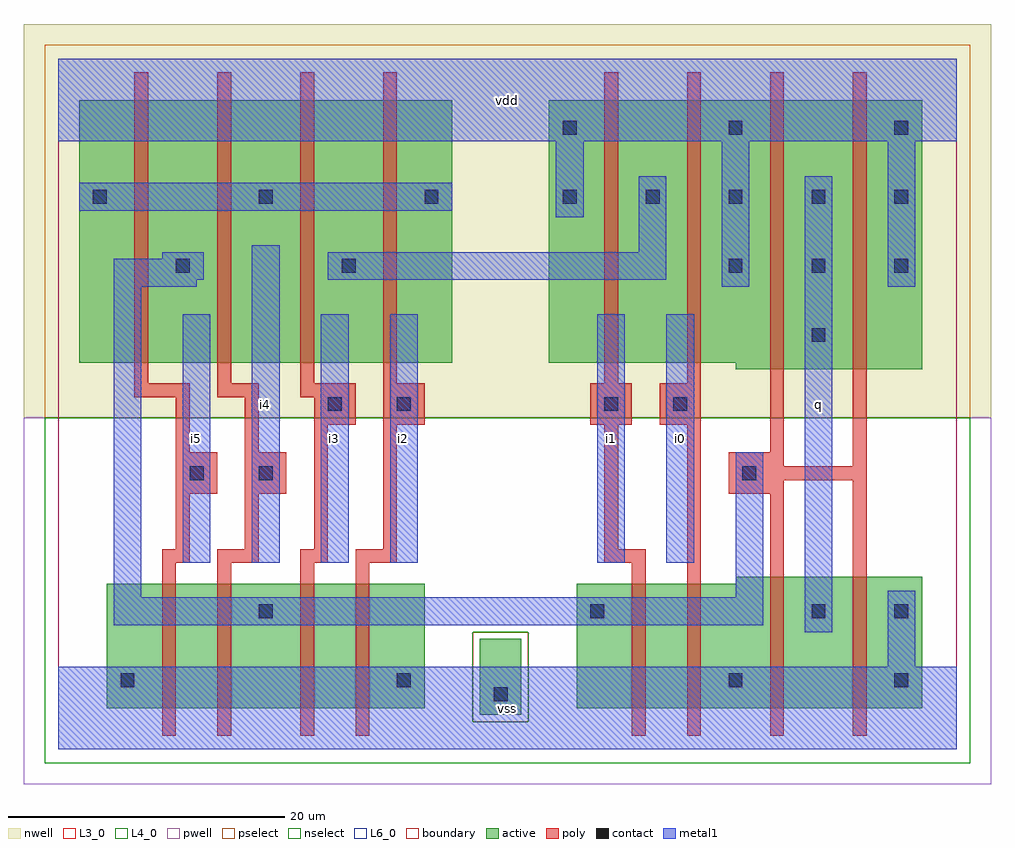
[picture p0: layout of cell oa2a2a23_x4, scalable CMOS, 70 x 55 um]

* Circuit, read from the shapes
.subckt oa2a2a23_x4 i0 i1 i2 i3 i4 i5 q vdd vss
M1 n1 i5 vss vss nfet w=9u l=1u
M2 n2 i4 n1 vss nfet w=9u l=1u
M3 n3 i3 n2 vss nfet w=9u l=1u
M4 vss i2 n3 vss nfet w=9u l=1u
M5 n4 i1 n2 vss nfet w=9u l=1u
M6 vss i0 n4 vss nfet w=9u l=1u
M7 q n2 vss vss nfet w=9.5u l=1u m=2
M8 n2 i5 n5 n6 pfet w=19u l=1u
M9 n5 i4 n2 n6 pfet w=19u l=1u
M10 n7 i3 n5 n6 pfet w=19u l=1u
M11 n5 i2 n7 n6 pfet w=19u l=1u
M12 n7 i1 vdd n6 pfet w=19u l=1u
M13 vdd i0 n7 n6 pfet w=19u l=1u
M14 q n2 vdd n6 pfet w=19.5u l=1u m=2
.ends

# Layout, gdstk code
import gdstk
lib = gdstk.Library(unit=1e-6, precision=1e-09)
def R(c, l, rs):  # rectangles x0, y0, x1, y1
    for r in rs: c.add(gdstk.rectangle(r[:2], r[2:], *l))
def A(c, l, x, y, w, h, nx, ny, dx, dy):  # array of equal rectangles
    R(c, l, [(x+i*dx, y+j*dy, x+i*dx+w, y+j*dy+h) for i in range(nx) for j in range(ny)])
L3_0 = (3, 0)
L4_0 = (4, 0)
L6_0 = (6, 0)
contact = (25, 0)
pwell = (41, 0)
nwell = (42, 0)
active = (43, 0)
pselect = (44, 0)
nselect = (45, 0)
poly = (46, 0)
metal1 = (49, 0)
boundary = (63, 0)

oa2a2a23_x4 = lib.new_cell('oa2a2a23_x4')
R(oa2a2a23_x4, L3_0, [(3.5,3,26.5,12), (37.5,3,62.5,12), (49,12,62.5,12.5)])
R(oa2a2a23_x4, L4_0, [(49,27.5,62.5,28), (1.5,28,28.5,47), (35.5,28,62.5,47)])
R(oa2a2a23_x4, L6_0, [(30.5,2.5,33.5,8)])
A(oa2a2a23_x4, contact, 48.5, 34.5, 1, 1, 3, 1, 6, 0)
A(oa2a2a23_x4, contact, 2.5, 39.5, 1, 1, 3, 1, 12, 0)
A(oa2a2a23_x4, contact, 36.5, 39.5, 1, 1, 5, 1, 6, 0)
A(oa2a2a23_x4, contact, 36.5, 44.5, 1, 1, 3, 1, 12, 0)
R(oa2a2a23_x4, contact, [(31.5,3.5,32.5,4.5), (4.5,4.5,5.5,5.5), (24.5,4.5,25.5,5.5), (48.5,4.5,49.5,5.5), (60.5,4.5,61.5,5.5), (14.5,9.5,15.5,10.5), (38.5,9.5,39.5,10.5), (54.5,9.5,55.5,10.5), (60.5,9.5,61.5,10.5), (9.5,19.5,10.5,20.5), (14.5,19.5,15.5,20.5), (49.5,19.5,50.5,20.5), (19.5,24.5,20.5,25.5), (24.5,24.5,25.5,25.5), (39.5,24.5,40.5,25.5), (44.5,24.5,45.5,25.5), (54.5,29.5,55.5,30.5), (8.5,34.5,9.5,35.5), (20.5,34.5,21.5,35.5)])
R(oa2a2a23_x4, pwell, [(-2.5,-2.5,67.5,24)])
R(oa2a2a23_x4, nwell, [(-2.5,24,67.5,52.5)])
R(oa2a2a23_x4, active, [(30.5,2.5,33.5,8), (3.5,3,26.5,12), (37.5,3,62.5,12), (49,12,62.5,12.5), (49,27.5,62.5,28), (1.5,28,28.5,47), (35.5,28,62.5,47)])
R(oa2a2a23_x4, pselect, [(30,2,34,8.5), (-1,24,66,51)])
R(oa2a2a23_x4, nselect, [(-1,-1,66,2), (-1,2,30,8.5), (34,2,66,8.5), (-1,8.5,66,24)])
A(oa2a2a23_x4, poly, 5.5, 26.5, 1, 22.5, 4, 1, 6, 0)
R(oa2a2a23_x4, poly, [(7.5,1,8.5,13.5), (11.5,1,12.5,13.5), (17.5,1,18.5,13.5), (21.5,1,22.5,13.5), (41.5,1,42.5,13.5), (45.5,1,46.5,23.5), (51.5,1,52.5,18.5), (57.5,1,58.5,19.5), (7.5,13.5,9.5,14.5), (11.5,13.5,14.5,14.5), (17.5,13.5,19.5,14.5), (21.5,13.5,24.5,14.5), (39.5,13.5,42.5,14.5), (8.5,14.5,9.5,18.5), (13.5,14.5,14.5,18.5), (18.5,14.5,19.5,23.5), (23.5,14.5,24.5,23.5), (39.5,14.5,40.5,23.5), (8.5,18.5,11.5,21.5), (13.5,18.5,16.5,21.5), (48.5,18.5,52.5,19.5), (48.5,19.5,58.5,20.5), (48.5,20.5,52.5,21.5), (57.5,20.5,58.5,49), (8.5,21.5,9.5,25.5), (13.5,21.5,14.5,25.5), (51.5,21.5,52.5,49), (18.5,23.5,21.5,25.5), (23.5,23.5,26.5,26.5), (38.5,23.5,41.5,26.5), (43.5,23.5,46.5,26.5), (5.5,25.5,9.5,26.5), (11.5,25.5,14.5,26.5), (17.5,25.5,21.5,26.5), (39.5,26.5,40.5,49), (45.5,26.5,46.5,49)])
R(oa2a2a23_x4, metal1, [(0,0,65,6), (0,0,65,6), (60,6,62,11.5), (60,6,62,11.5), (54,8.5,56,41.5), (54,8.5,56,41.5), (4,9,51,11), (4,9,51,11), (4,11,6,33.5), (4,11,6,33.5), (49,11,51,21.5), (49,11,51,21.5), (9,13.5,11,31.5), (9,13.5,11,31.5), (14,13.5,16,36.5), (14,13.5,16,36.5), (19,13.5,21,31.5), (19,13.5,21,31.5), (24,13.5,26,31.5), (24,13.5,26,31.5), (39,13.5,41,31.5), (39,13.5,41,31.5), (44,13.5,46,31.5), (44,13.5,46,31.5), (4,33.5,10,34), (4,33.5,10,34), (48,33.5,50,44), (48,33.5,50,44), (60,33.5,62,44), (60,33.5,62,44), (4,34,10.5,35.5), (4,34,10.5,35.5), (19.5,34,44,36), (19.5,34,44,36), (7.5,35.5,10.5,36), (7.5,35.5,10.5,36), (42,36,44,41.5), (42,36,44,41.5), (36,38.5,38,44), (36,38.5,38,44), (1.5,39,28.5,41), (1.5,39,28.5,41), (0,44,65,50), (0,44,65,50)])
R(oa2a2a23_x4, boundary, [(0,0,65,50)])
oa2a2a23_x4.add(gdstk.Label('i5', (10,22.5), layer=49, texttype=0))
oa2a2a23_x4.add(gdstk.Label('i3', (20,22.5), layer=49, texttype=0))
oa2a2a23_x4.add(gdstk.Label('i2', (25,22.5), layer=49, texttype=0))
oa2a2a23_x4.add(gdstk.Label('i4', (15,25), layer=49, texttype=0))
oa2a2a23_x4.add(gdstk.Label('vss', (32.5,3), layer=49, texttype=0))
oa2a2a23_x4.add(gdstk.Label('i0', (45,22.5), layer=49, texttype=0))
oa2a2a23_x4.add(gdstk.Label('i1', (40,22.5), layer=49, texttype=0))
oa2a2a23_x4.add(gdstk.Label('vdd', (32.5,47), layer=49, texttype=0))
oa2a2a23_x4.add(gdstk.Label('q', (55,25), layer=49, texttype=0))

lib.write_gds('oa2a2a23_x4.gds')
